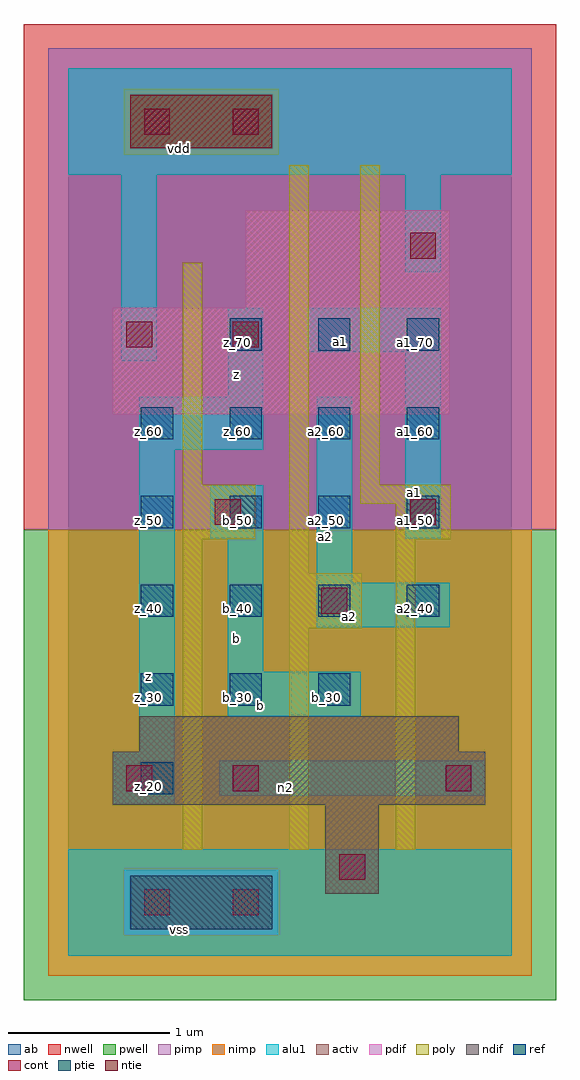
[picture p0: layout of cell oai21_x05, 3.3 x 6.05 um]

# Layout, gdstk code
import gdstk
lib = gdstk.Library(unit=1e-6, precision=2.5e-09)
def R(c, l, rs):  # rectangles x0, y0, x1, y1
    for r in rs: c.add(gdstk.rectangle(r[:2], r[2:], *l))
def A(c, l, x, y, w, h, nx, ny, dx, dy):  # array of equal rectangles
    R(c, l, [(x+i*dx, y+j*dy, x+i*dx+w, y+j*dy+h) for i in range(nx) for j in range(ny)])
ndif = (3, 0)
pdif = (4, 0)
ntie = (5, 0)
ptie = (6, 0)
ref = (24, 0)
cont = (25, 0)
pwell = (41, 0)
nwell = (42, 0)
activ = (43, 0)
pimp = (44, 0)
nimp = (45, 0)
poly = (46, 0)
alu1 = (49, 0)
ab = (63, 0)

oai21_x05 = lib.new_cell('oai21_x05')
R(oai21_x05, ndif, [(1.595,0.385,1.925,0.935), (0.275,0.935,2.585,1.265), (0.44,1.265,2.42,1.485)])
R(oai21_x05, pdif, [(0.275,3.355,2.365,4.015), (1.1,4.015,2.365,4.62)])
R(oai21_x05, ntie, [(0.385,5.005,1.265,5.335)])
R(oai21_x05, ptie, [(0.385,0.165,1.265,0.495)])
A(oai21_x05, ref, 0.45, 1.55, 0.2, 0.2, 3, 1, 0.55, 0)
A(oai21_x05, ref, 0.45, 2.1, 0.2, 0.2, 4, 3, 0.55, 0.55)
A(oai21_x05, ref, 1, 3.75, 0.2, 0.2, 3, 1, 0.55, 0)
R(oai21_x05, ref, [(0.45,1,0.65,1.2)])
R(oai21_x05, cont, [(0.47,0.25,0.63,0.41), (1.02,0.25,1.18,0.41), (1.68,0.47,1.84,0.63), (0.36,1.02,0.52,1.18), (1.02,1.02,1.18,1.18), (2.34,1.02,2.5,1.18), (1.57,2.12,1.73,2.28), (0.91,2.67,1.07,2.83), (2.12,2.67,2.28,2.83), (0.36,3.77,0.52,3.93), (1.02,3.77,1.18,3.93), (2.12,4.32,2.28,4.48), (0.47,5.09,0.63,5.25), (1.02,5.09,1.18,5.25)])
R(oai21_x05, pwell, [(-0.275,-0.275,3.025,2.64)])
R(oai21_x05, nwell, [(-0.275,2.64,3.025,5.775)])
R(oai21_x05, activ, [(0.385,0.165,1.265,0.495), (1.595,0.385,1.925,0.935), (0.275,0.935,2.585,1.265), (0.44,1.265,2.42,1.485), (0.275,3.355,2.365,4.015), (1.1,4.015,2.365,4.62), (0.385,5.005,1.265,5.335)])
R(oai21_x05, pimp, [(0.345,0.125,1.305,0.535), (-0.125,2.64,2.875,4.965), (-0.125,4.965,0.345,5.375), (1.305,4.965,2.875,5.375), (-0.125,5.375,2.875,5.625)])
R(oai21_x05, nimp, [(-0.125,-0.125,2.875,0.125), (-0.125,0.125,0.345,0.535), (1.305,0.125,2.875,0.535), (-0.125,0.535,2.875,2.64), (0.345,4.965,1.305,5.375)])
R(oai21_x05, poly, [(0.71,0.655,0.83,2.58), (1.37,0.655,1.49,2.03), (2.03,0.655,2.15,2.58), (1.37,2.03,1.82,2.37), (1.37,2.37,1.49,4.9), (0.71,2.58,1.16,2.92), (2.03,2.58,2.37,2.8), (1.81,2.8,2.37,2.92), (0.71,2.92,0.83,4.295), (1.81,2.92,1.93,4.9)])
R(oai21_x05, alu1, [(0,0,2.75,0.66), (0.275,0.935,0.66,1.265), (0.935,0.99,2.585,1.21), (0.44,1.265,0.66,3.135), (0.99,1.485,1.815,1.76), (0.99,1.76,1.21,2.585), (1.54,2.035,2.365,2.31), (1.54,2.31,1.76,3.465), (0.88,2.585,1.21,2.915), (2.09,2.585,2.31,3.74), (0.44,3.135,1.21,3.465), (0.99,3.465,1.21,4.015), (0.33,3.685,0.55,4.84), (1.485,3.74,2.31,4.015), (2.09,4.235,2.31,4.84), (0,4.84,2.75,5.5)])
R(oai21_x05, ab, [(0,0,2.75,5.5)])
oai21_x05.add(gdstk.Label('vss', (0.6875,0.165), layer=49, texttype=0))
oai21_x05.add(gdstk.Label('n2', (1.3475,1.045), layer=49, texttype=0))
oai21_x05.add(gdstk.Label('b', (1.195,1.5525), layer=49, texttype=0))
oai21_x05.add(gdstk.Label('a2', (1.745,2.1025), layer=49, texttype=0))
oai21_x05.add(gdstk.Label('a1', (2.145,2.8725), layer=49, texttype=0))
oai21_x05.add(gdstk.Label('a2', (1.595,2.5975), layer=49, texttype=0))
oai21_x05.add(gdstk.Label('b', (1.045,1.965), layer=49, texttype=0))
oai21_x05.add(gdstk.Label('z', (0.495,1.7325), layer=49, texttype=0))
oai21_x05.add(gdstk.Label('a1', (1.69,3.8075), layer=49, texttype=0))
oai21_x05.add(gdstk.Label('z', (1.045,3.6025), layer=49, texttype=0))
oai21_x05.add(gdstk.Label('vdd', (0.6875,5.005), layer=49, texttype=0))
oai21_x05.add(gdstk.Label('z_70', (1.05,3.8), layer=24, texttype=0))
oai21_x05.add(gdstk.Label('z_60', (1.05,3.25), layer=24, texttype=0))
oai21_x05.add(gdstk.Label('a1_70', (2.15,3.8), layer=24, texttype=0))
oai21_x05.add(gdstk.Label('a1_60', (2.15,3.25), layer=24, texttype=0))
oai21_x05.add(gdstk.Label('a2_60', (1.6,3.25), layer=24, texttype=0))
oai21_x05.add(gdstk.Label('a2_40', (2.15,2.15), layer=24, texttype=0))
oai21_x05.add(gdstk.Label('z_60', (0.5,3.25), layer=24, texttype=0))
oai21_x05.add(gdstk.Label('z_50', (0.5,2.7), layer=24, texttype=0))
oai21_x05.add(gdstk.Label('z_40', (0.5,2.15), layer=24, texttype=0))
oai21_x05.add(gdstk.Label('b_50', (1.05,2.7), layer=24, texttype=0))
oai21_x05.add(gdstk.Label('z_30', (0.5,1.6), layer=24, texttype=0))
oai21_x05.add(gdstk.Label('a2_50', (1.6,2.7), layer=24, texttype=0))
oai21_x05.add(gdstk.Label('a1_50', (2.15,2.7), layer=24, texttype=0))
oai21_x05.add(gdstk.Label('b_40', (1.05,2.15), layer=24, texttype=0))
oai21_x05.add(gdstk.Label('b_30', (1.6,1.6), layer=24, texttype=0))
oai21_x05.add(gdstk.Label('b_30', (1.05,1.6), layer=24, texttype=0))
oai21_x05.add(gdstk.Label('a2_40', (1.6,2.15), layer=24, texttype=0))
oai21_x05.add(gdstk.Label('a1_70', (1.6,3.8), layer=24, texttype=0))
oai21_x05.add(gdstk.Label('z_20', (0.5,1.05), layer=24, texttype=0))

lib.write_gds('oai21_x05.gds')
